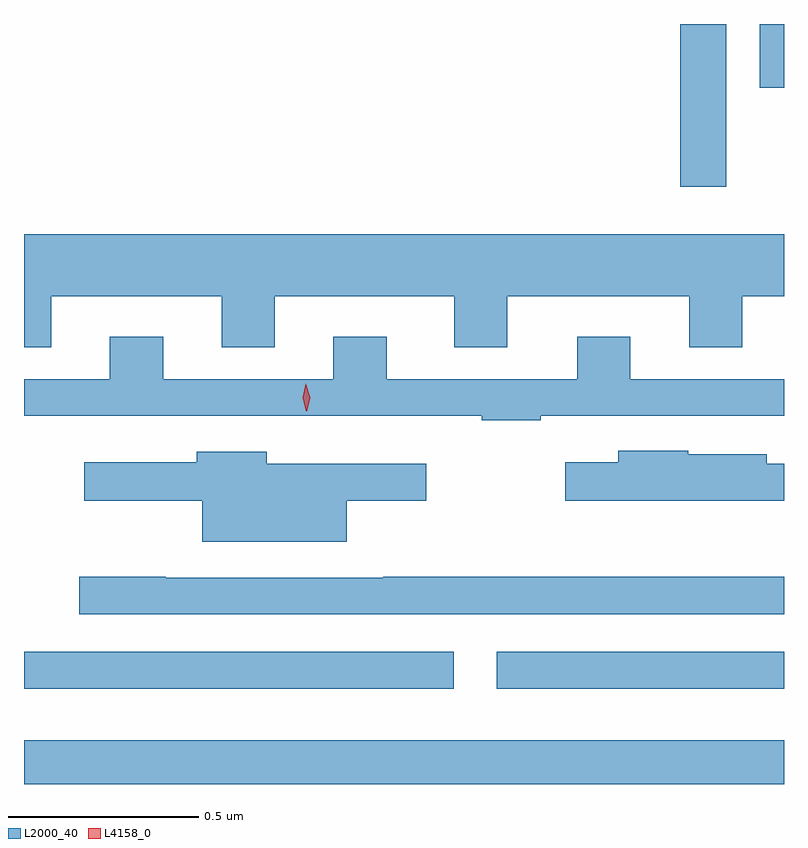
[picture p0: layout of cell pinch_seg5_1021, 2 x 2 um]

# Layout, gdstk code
import gdstk
lib = gdstk.Library(unit=1e-6, precision=1e-09)
def R(c, l, rs):  # rectangles x0, y0, x1, y1
    for r in rs: c.add(gdstk.rectangle(r[:2], r[2:], *l))
def P(c, l, *ps):  # polygons
    for p in ps: c.add(gdstk.Polygon(p, *l))
L2000_40 = (2000, 40)
L4158_0 = (4158, 0)

pinch_seg5_1021 = lib.new_cell('pinch_seg5_1021')
R(pinch_seg5_1021, L2000_40, [(734.971,871.461,736.971,871.576), (734.971,871.712,736.102,871.809), (736.215,871.712,736.971,871.809), (736.698,873.033,736.819,873.461), (736.907,873.293,736.971,873.461)])
P(pinch_seg5_1021, L2000_40, [(735.043,872.744),(735.491,872.744),(735.491,872.611),(735.631,872.611),(735.631,872.744),(736.103,872.744),(736.103,872.611),(736.243,872.611),(736.243,872.744),(736.721,872.744),(736.721,872.611),(736.861,872.611),(736.861,872.744),(736.971,872.744),(736.971,872.908),(734.971,872.908),(734.971,872.611),(735.043,872.611)],
  [(736.331,872.43),(736.971,872.43),(736.971,872.526),(736.567,872.526),(736.567,872.638),(736.427,872.638),(736.427,872.526),(735.925,872.526),(735.925,872.638),(735.785,872.638),(735.785,872.526),(735.337,872.526),(735.337,872.638),(735.197,872.638),(735.197,872.526),(734.971,872.526),(734.971,872.43),(736.176,872.43),(736.176,872.418),(736.331,872.418)],
  [(736.971,872.304),(736.926,872.304),(736.926,872.329),(736.719,872.329),(736.719,872.338),(736.535,872.338),(736.535,872.308),(736.395,872.308),(736.395,872.207),(736.971,872.207)],
  [(735.82,872.207),(736.03,872.207),(736.03,872.304),(735.61,872.304),(735.61,872.335),(735.426,872.335),(735.426,872.308),(735.129,872.308),(735.129,872.207),(735.44,872.207),(735.44,872.099),(735.82,872.099)],
  [(736.971,872.006),(735.916,872.006),(735.916,872.004),(735.344,872.004),(735.344,872.006),(735.117,872.006),(735.117,871.908),(736.971,871.908)])
P(pinch_seg5_1021, L4158_0, [(735.714,872.442),(735.704,872.478),(735.713,872.514),(735.713,872.514),(735.713,872.514),(735.724,872.478),(735.715,872.442),(735.715,872.442)])

lib.write_gds('pinch_seg5_1021.gds')
